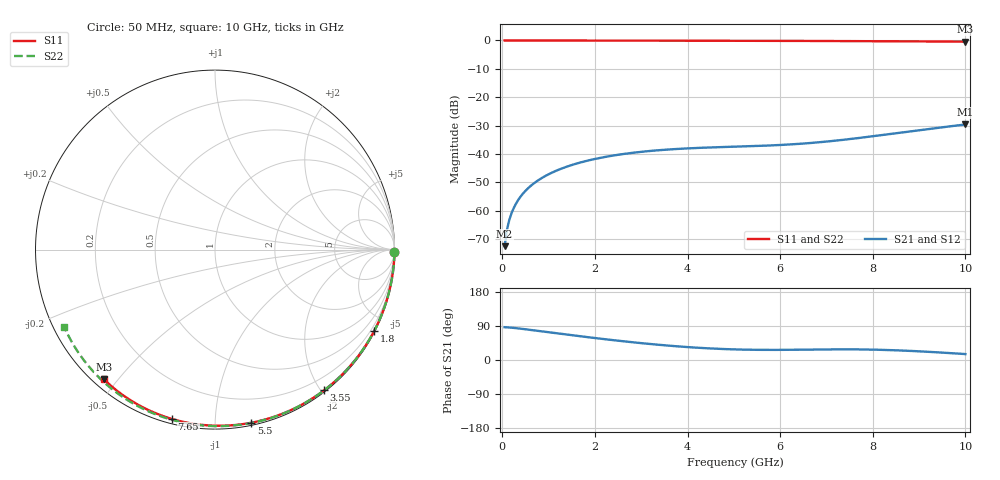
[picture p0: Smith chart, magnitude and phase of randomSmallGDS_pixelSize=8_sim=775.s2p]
! freq	dB(S11)	phase(S11)	dB(S12)	phase(S12)
!  dB(S21)	phase(S21)	dB(S22)	phase(S22)
!S-par simulation data
#  GHz  S  DB  R 50
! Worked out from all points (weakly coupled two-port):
!   200 points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, 50 MHz to 10 GHz, reference 50 ohm
!   highest |S21| = -29.60 dB at 10 GHz (marker M1); lowest = -72.5 dB at 50 MHz (marker M2)
!   lowest |S11| = -0.4 dB at 10 GHz (marker M3), VSWR 40.14, Z = 1.51 - j23 ohm
!   |S11| at or under -10 dB: nowhere
!   |S22| runs from -0.5 to 0.0 dB; largest |S21 - S12| = 0
!   S11 on the Smith chart (normalised r, x): 50 MHz: open; 1.8 GHz: 0.04, -4.15; 3.55 GHz: 0.02, -2.04; 5.5 GHz: 0.02, -1.23; 7.65 GHz: 0.02, -0.78; 10 GHz: 0.03, -0.46
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0.05  -0.00 -0.8  -72.49 86.6  -72.49 86.6  -0.00 -0.9
0.1  -0.00 -1.5  -66.73 86.0  -66.73 86.0  -0.00 -1.8
0.15  -0.00 -2.3  -63.31 85.7  -63.31 85.7  -0.00 -2.7
0.2  -0.00 -3.1  -60.86 85.2  -60.86 85.2  -0.00 -3.6
0.25  -0.00 -3.8  -58.95 84.7  -58.95 84.7  -0.00 -4.5
0.35  -0.00 -5.4  -56.06 83.3  -56.06 83.3  -0.00 -6.4
0.5  -0.01 -7.6  -53.00 81.1  -53.00 81.1  -0.01 -9.1
0.7  -0.01 -10.7  -50.14 78.0  -50.14 78.0  -0.01 -12.7
1  -0.02 -15.2  -47.15 73.3  -47.15 73.3  -0.02 -18.0
1.35  -0.03 -20.4  -44.72 67.8  -44.72 67.8  -0.03 -24.2
1.75  -0.03 -26.4  -42.72 61.7  -42.72 61.7  -0.04 -31.2
1.8  -0.03 -27.1  -42.52 60.9  -42.52 60.9  -0.04 -32.1
2.55  -0.05 -38.1  -40.16 50.2  -40.16 50.2  -0.06 -45.0
3.4  -0.07 -50.1  -38.65 39.9  -38.65 39.9  -0.08 -59.1
3.55  -0.07 -52.2  -38.47 38.3  -38.47 38.3  -0.08 -61.5
4.3  -0.09 -62.5  -37.82 31.8  -37.82 31.8  -0.10 -73.4
5.05  -0.11 -72.4  -37.41 27.8  -37.41 27.8  -0.13 -84.9
5.5  -0.13 -78.2  -37.18 26.8  -37.18 26.8  -0.15 -91.5
6.7  -0.18 -93.0  -36.07 27.6  -36.07 27.6  -0.21 -108.6
7.65  -0.23 -104.3  -34.46 28.0  -34.46 28.0  -0.27 -121.6
8.35  -0.28 -112.3  -33.02 26.2  -33.02 26.2  -0.33 -131.0
10  -0.43 -130.6  -29.60 15.6  -29.60 15.6  -0.50 -152.8
